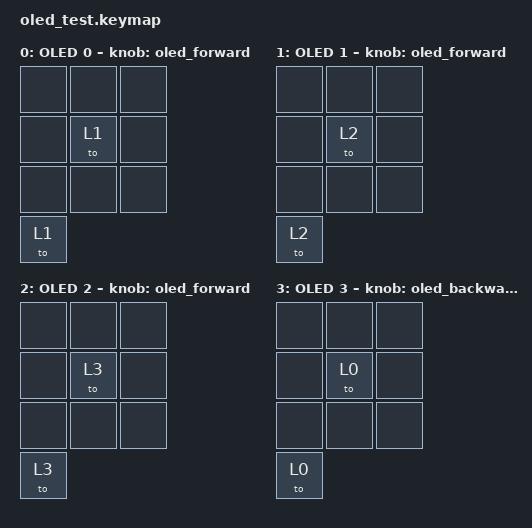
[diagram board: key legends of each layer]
#include <behaviors.dtsi>

/ {
    behaviors {
        oled_forward: oled_forward {
            compatible = "zmk,behavior-sensor-rotate";
            #sensor-binding-cells = <0>;
            bindings = <&to 1>, <&to 2>;
        };

        oled_backward: oled_backward {
            compatible = "zmk,behavior-sensor-rotate";
            #sensor-binding-cells = <0>;
            bindings = <&to 3>, <&to 0>;
        };
    };

    keymap {
        compatible = "zmk,keymap";

        oled_test_0 {
            display-name = "OLED 0";
            bindings = <
                &none  &none  &none
                &none  &to 1  &none
                &none  &none  &none
                &to 1
            >;
            sensor-bindings = <&oled_forward>;
        };

        oled_test_1 {
            display-name = "OLED 1";
            bindings = <
                &none  &none  &none
                &none  &to 2  &none
                &none  &none  &none
                &to 2
            >;
            sensor-bindings = <&oled_forward>;
        };

        oled_test_2 {
            display-name = "OLED 2";
            bindings = <
                &none  &none  &none
                &none  &to 3  &none
                &none  &none  &none
                &to 3
            >;
            sensor-bindings = <&oled_forward>;
        };

        oled_test_3 {
            display-name = "OLED 3";
            bindings = <
                &none  &none  &none
                &none  &to 0  &none
                &none  &none  &none
                &to 0
            >;
            sensor-bindings = <&oled_backward>;
        };
    };
};
